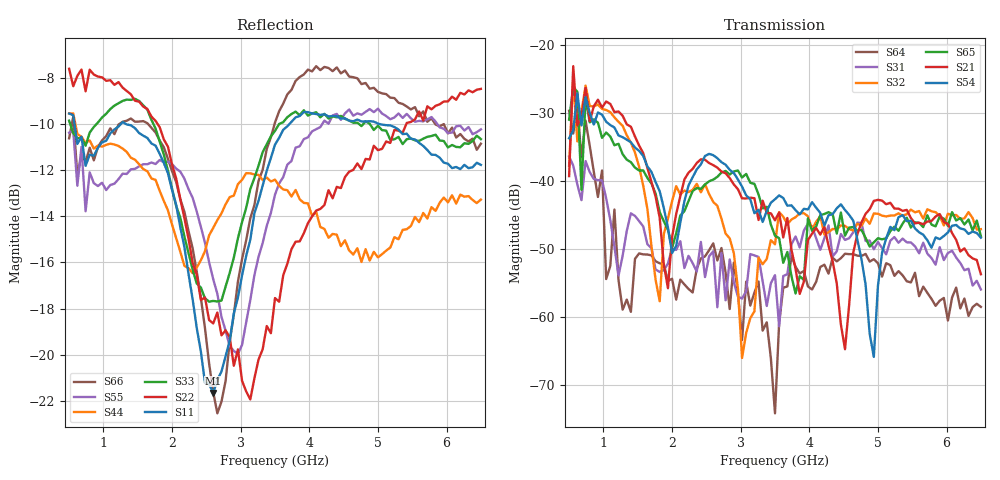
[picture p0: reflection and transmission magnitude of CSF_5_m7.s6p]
!Keysight Technologies,M9804A,MY58100912,A.14.10.03
!Date: Thursday, April 27, 2023 10:28:33
!Correction: S11(C  6-Port  )
!S12(C  6-Port  )
!S13(C  6-Port  )
!S14(C  6-Port  )
!S15(C  6-Port  )
!S16(C  6-Port  )
!S21(C  6-Port  )
!S22(C  6-Port  )
!S23(C  6-Port  )
!S24(C  6-Port  )
!S25(C  6-Port  )
!S26(C  6-Port  )
!S31(C  6-Port  )
!S32(C  6-Port  )
!S33(C  6-Port  )
!S34(C  6-Port  )
!S35(C  6-Port  )
!S36(C  6-Port  )
!S41(C  6-Port  )
!S42(C  6-Port  )
!S43(C  6-Port  )
!S44(C  6-Port  )
!S45(C  6-Port  )
!S46(C  6-Port  )
!S51(C  6-Port  )
!S52(C  6-Port  )
!S53(C  6-Port  )
!S54(C  6-Port  )
!S55(C  6-Port  )
!S56(C  6-Port  )
!S61(C  6-Port  )
!S62(C  6-Port  )
!S63(C  6-Port  )
!S64(C  6-Port  )
!S65(C  6-Port  )
!S66(C  6-Port  )
!S6P File: Measurement: :
# Hz S  RI  R 50
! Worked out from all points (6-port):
!   101 points, 500 MHz to 6.5 GHz, reference 50 ohm
!   strongest paths, dB at 500 MHz, 2 GHz, 3.5 GHz, 5 GHz, 6.5 GHz:
!     S54: -33.7, -50.6, -42.7, -55.4, -48.3
!     S21: -39.3, -48.3, -45.8, -42.8, -53.7
!     S65: -31.0, -49.9, -48.0, -48.4, -48.1
!     S32: -37.8, -43.0, -49.3, -44.8, -47.1
!     S31: -36.4, -49.9, -53.8, -49.0, -55.9
!     S64: -29.7, -54.4, -74.1, -52.1, -58.5
!   lowest |S11| = -21.7 dB at 2.6 GHz (marker M1), VSWR 1.18, Z = 42.6 + j2.07 ohm
!   |S11| at or under -10 dB: 577.9 MHz to 1.257 GHz (678.8 MHz wide, 74 % of centre); 1.323 GHz to 3.714 GHz (2.39 GHz wide, 94.9 % of centre); 5.011 GHz to end of sweep
